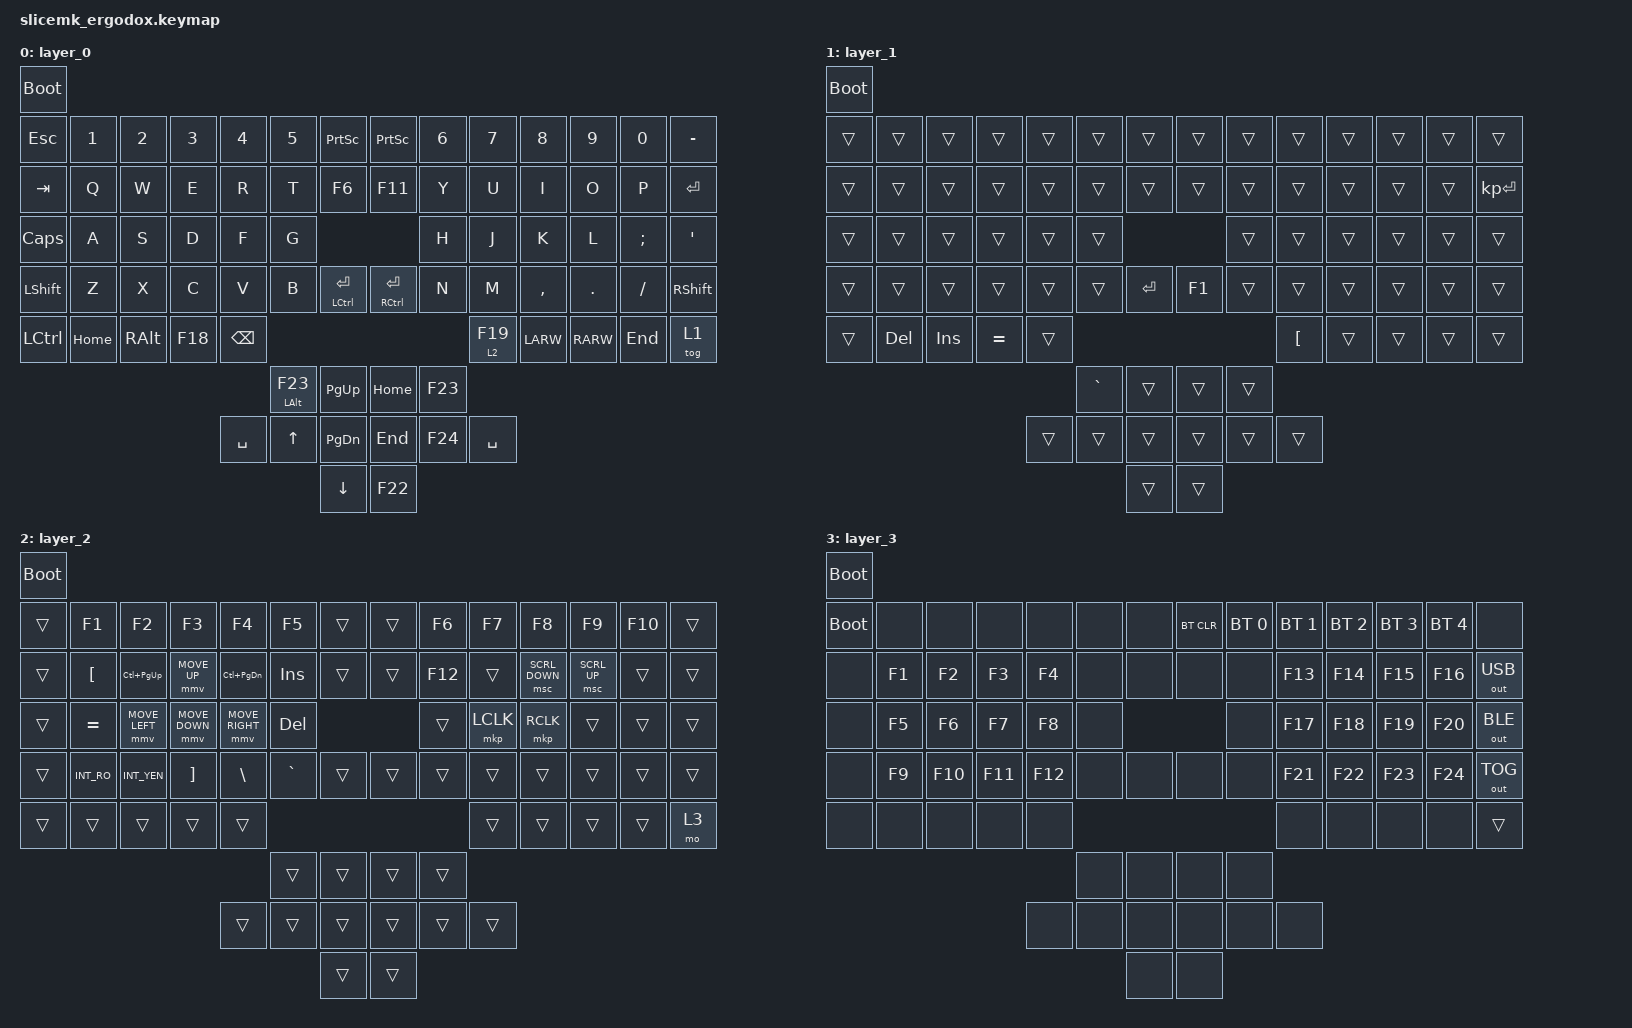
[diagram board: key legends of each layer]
#include <behaviors.dtsi>
#include <dt-bindings/zmk/bt.h>
#include <dt-bindings/zmk/keys.h>
#include <dt-bindings/zmk/mouse.h>
#include <dt-bindings/zmk/outputs.h>

#undef ZMK_MOUSE_DEFAULT_MOVE_VAL
#undef ZMK_MOUSE_DEFAULT_SCRL_VAL
#define ZMK_MOUSE_DEFAULT_MOVE_VAL 7900
#define ZMK_MOUSE_DEFAULT_SCRL_VAL 50

&lt 	{
    	tapping-term-ms = <250>;
    	};
	
&mt 	{
    	tapping-term-ms = <250>;
    	};
&mmv	{
	time-to-max-speed-ms = <800>;
	acceleration-exponent=<1>;
	};
&sk 	{
	quick-release;
	};
/ {
	keymap {
		compatible = "zmk,keymap";
		layer_0 {
			bindings = <
				&bootloader 
				&kp ESC    &kp N1   &kp N2   &kp N3  &kp N4   &kp N5       &kp PSCRN     &kp PSCRN     &kp N6  &kp N7    &kp N8   &kp N9   &kp N0   &kp MINUS
				&kp TAB    &kp Q    &kp W    &kp E   &kp R    &kp T        &kp F6        &kp F11       &kp Y   &kp U     &kp I    &kp O    &kp P    &kp RET
				&kp CAPS   &kp A    &kp S    &kp D   &kp F    &kp G                                    &kp H   &kp J     &kp K    &kp L    &kp SEMI &kp SQT
				&kp LSHIFT &kp Z    &kp X    &kp C   &kp V    &kp B        &mt LCTRL RET &mt RCTRL RET &kp N   &kp M     &kp CMMA &kp DOT  &kp FSLH &kp RSHIFT
				&kp LCTRL  &kp HOME &kp RALT &kp F18 &kp BSPC                                                  &lt 2 F19 &kp LARW &kp RARW &kp END  &tog 1
				                                              &mt LALT F23 &kp PG_UP     &kp HOME      &kp F23
				                                     &kp SPC  &kp UP       &kp PG_DN     &kp END       &kp F24 &kp SPC
				                                                           &kp DOWN      &kp F22
			>;
		};
		layer_1 {
			bindings = <
				&bootloader
				&trans &trans  &trans  &trans    &trans &trans    &trans  &trans &trans &trans   &trans &trans &trans &trans
				&trans &trans  &trans  &trans    &trans &trans    &trans  &trans &trans &trans   &trans &trans &trans &kp KP_ENTER
				&trans &trans  &trans  &trans    &trans &trans                   &trans &trans   &trans &trans &trans &trans
				&trans &trans  &trans  &trans    &trans &trans    &kp RET &kp F1 &trans &trans   &trans &trans &trans &trans
				&trans &kp DEL &kp INS &kp EQUAL &trans                                 &kp LBKT &trans &trans &trans &trans
				                                        &kp GRAVE &trans  &trans &trans
				                                 &trans &trans    &trans  &trans &trans &trans
				                                                  &trans  &trans
			>;
		};
		layer_2 {
			bindings = <
				&bootloader
				&trans &kp F1     &kp F2         &kp F3         &kp F4          &kp F5    &trans &trans &kp F6  &kp F7    &kp F8         &kp F9       &kp F10 &trans
				&trans &kp LBKT   &kp LC(PG_UP)  &mmv MOVE_UP   &kp LC(PG_DN)   &kp INS   &trans &trans &kp F12 &trans    &msc SCRL_DOWN &msc SCRL_UP &trans  &trans
				&trans &kp EQUAL  &mmv MOVE_LEFT &mmv MOVE_DOWN &mmv MOVE_RIGHT &kp DEL                 &trans  &mkp LCLK &mkp RCLK      &trans       &trans  &trans
				&trans &kp INT_RO &kp INT_YEN    &kp RBKT       &kp BSLH        &kp GRAVE &trans &trans &trans  &trans    &trans         &trans       &trans  &trans
				&trans &trans     &trans         &trans         &trans                                          &trans    &trans         &trans       &trans  &mo 3
				                                                                &trans    &trans &trans &trans
				                                                &trans          &trans    &trans &trans &trans  &trans
				                                                                          &trans &trans
			>;
		};
		layer_3 {
			bindings = <
				&bootloader
				&bootloader &none  &none   &none   &none   &none &none &bt BT_CLR &bt BT_SEL 0 &bt BT_SEL 1 &bt BT_SEL 2 &bt BT_SEL 3 &bt BT_SEL 4 &none
				&none       &kp F1 &kp F2  &kp F3  &kp F4  &none &none &none      &none        &kp F13      &kp F14      &kp F15      &kp F16      &out OUT_USB
				&none       &kp F5 &kp F6  &kp F7  &kp F8  &none                  &none        &kp F17      &kp F18      &kp F19      &kp F20      &out OUT_BLE
				&none       &kp F9 &kp F10 &kp F11 &kp F12 &none &none &none      &none        &kp F21      &kp F22      &kp F23      &kp F24      &out OUT_TOG
				&none       &none  &none   &none   &none                                       &none        &none        &none        &none        &trans
				                                           &none &none &none      &none
				                                   &none   &none &none &none      &none        &none
				                                                 &none &none
			>;
		};
	};
	ZMK_MACRO(m_a46103d6, wait-ms = <40>; tap-ms = <40>; bindings = <&macro_tap &kp GRAVE>, <&macro_tap &kp GRAVE>, <&macro_tap &kp GRAVE>;)
	ZMK_MACRO(m_5246c76f, wait-ms = <40>; tap-ms = <40>; bindings = <&macro_tap &kp ASTERISK>, <&macro_tap &kp ASTERISK>;)
};
